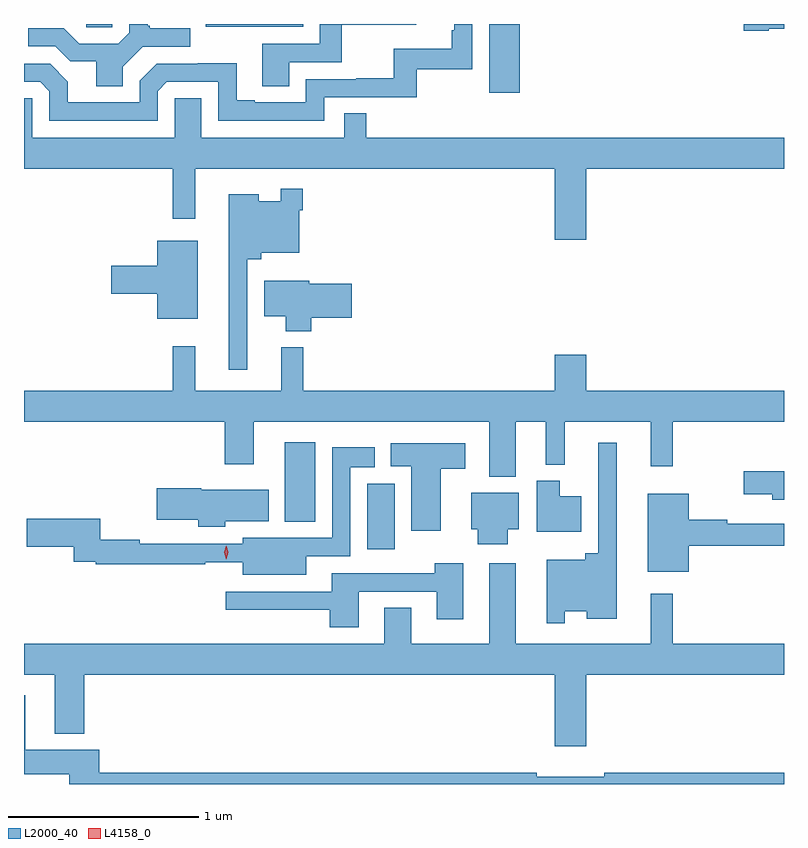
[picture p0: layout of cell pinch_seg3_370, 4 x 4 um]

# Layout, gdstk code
import gdstk
lib = gdstk.Library(unit=1e-6, precision=1e-09)
def R(c, l, rs):  # rectangles x0, y0, x1, y1
    for r in rs: c.add(gdstk.rectangle(r[:2], r[2:], *l))
def P(c, l, *ps):  # polygons
    for p in ps: c.add(gdstk.Polygon(p, *l))
L2000_40 = (2000, 40)
L4158_0 = (4158, 0)

pinch_seg3_370 = lib.new_cell('pinch_seg3_370')
R(pinch_seg3_370, L2000_40, [(1015.169,698.913,1015.312,699.259), (1014.734,699.059,1014.895,699.478), (1015.811,701.316,1015.972,701.678), (1013.689,701.661,1013.826,701.678), (1014.318,701.664,1014.833,701.678)])
P(pinch_seg3_370, L2000_40, [(1014.757,701.478),(1015.034,701.478),(1015.034,701.674),(1015.427,701.674),(1015.427,701.678),(1014.918,701.678),(1014.918,701.574),(1014.617,701.574),(1014.617,701.35),(1014.757,701.35)],
  [(1014.066,701.325),(1014.114,701.373),(1014.384,701.373),(1014.384,701.169),(1014.942,701.169),(1014.942,701.292),(1015.429,701.292),(1015.429,701.439),(1015.722,701.439),(1015.722,701.678),(1015.626,701.678),(1015.626,701.644),(1015.613,701.644),(1015.613,701.548),(1015.308,701.548),(1015.308,701.393),(1015.111,701.393),(1015.111,701.388),(1014.846,701.388),(1014.846,701.265),(1014.577,701.265),(1014.577,701.278),(1014.481,701.278),(1014.481,701.471),(1014.276,701.471),(1014.276,701.469),(1014.06,701.469),(1013.97,701.379),(1013.97,701.265),(1013.593,701.265),(1013.593,701.375),(1013.499,701.469),(1013.362,701.469),(1013.362,701.373),(1013.448,701.373),(1013.496,701.325),(1013.496,701.169),(1014.066,701.169)],
  [(1017.282,701.654),(1017.362,701.654),(1017.362,701.678),(1017.15,701.678),(1017.15,701.642),(1017.282,701.642)],
  [(1013.881,701.452),(1013.988,701.559),(1014.238,701.559),(1014.238,701.656),(1014.025,701.656),(1014.025,701.668),(1014.013,701.668),(1014.013,701.678),(1013.916,701.678),(1013.916,701.631),(1013.859,701.574),(1013.653,701.574),(1013.572,701.655),(1013.385,701.655),(1013.385,701.562),(1013.526,701.562),(1013.606,701.482),(1013.741,701.482),(1013.741,701.35),(1013.881,701.35)],
  [(1016.32,700.916),(1017.362,700.916),(1017.362,701.08),(1015.163,701.08),(1015.163,701.207),(1015.047,701.207),(1015.047,701.08),(1014.295,701.08),(1014.295,701.288),(1014.156,701.288),(1014.156,701.08),(1013.406,701.08),(1013.406,701.288),(1013.362,701.288),(1013.362,700.916),(1014.145,700.916),(1014.145,700.653),(1014.262,700.653),(1014.262,700.916),(1016.156,700.916),(1016.156,700.542),(1016.32,700.542)],
  [(1014.537,700.439),(1014.611,700.439),(1014.611,700.475),(1014.81,700.475),(1014.81,700.697),(1014.83,700.697),(1014.83,700.81),(1014.714,700.81),(1014.714,700.744),(1014.598,700.744),(1014.598,700.783),(1014.44,700.783),(1014.44,699.858),(1014.537,699.858)],
  [(1014.277,700.537),(1014.062,700.537),(1014.062,700.406),(1013.82,700.406),(1013.82,700.259),(1014.062,700.259),(1014.062,700.127),(1014.277,700.127)],
  [(1014.875,700.132),(1015.087,700.132),(1015.087,700.31),(1014.862,700.31),(1014.862,700.327),(1014.626,700.327),(1014.626,700.139),(1014.74,700.139),(1014.74,700.061),(1014.875,700.061)],
  [(1015.951,699.584),(1016.108,699.584),(1016.108,699.359),(1016.207,699.359),(1016.207,699.584),(1016.66,699.584),(1016.66,699.351),(1016.777,699.351),(1016.777,699.584),(1017.362,699.584),(1017.362,699.748),(1016.32,699.748),(1016.32,699.937),(1016.156,699.937),(1016.156,699.748),(1014.833,699.748),(1014.833,699.976),(1014.716,699.976),(1014.716,699.748),(1014.263,699.748),(1014.263,699.982),(1014.145,699.982),(1014.145,699.748),(1013.362,699.748),(1013.362,699.584),(1014.419,699.584),(1014.419,699.36),(1014.571,699.36),(1014.571,699.584),(1015.811,699.584),(1015.811,699.296),(1015.951,699.296)],
  [(1016.208,698.588),(1016.324,698.588),(1016.324,698.549),(1016.482,698.549),(1016.482,699.475),(1016.385,699.475),(1016.385,698.893),(1016.317,698.893),(1016.317,698.857),(1016.112,698.857),(1016.112,698.523),(1016.208,698.523)],
  [(1015.555,699.338),(1015.684,699.338),(1015.684,699.472),(1015.292,699.472),(1015.292,699.35),(1015.4,699.35),(1015.4,699.012),(1015.555,699.012)],
  [(1014.847,698.877),(1015.08,698.877),(1015.08,699.344),(1015.207,699.344),(1015.207,699.451),(1014.984,699.451),(1014.984,698.973),(1014.738,698.973),(1014.738,698.974),(1014.512,698.974),(1014.512,698.943),(1013.972,698.943),(1013.972,698.963),(1013.764,698.963),(1013.764,699.074),(1013.376,699.074),(1013.376,698.927),(1013.624,698.927),(1013.624,698.847),(1013.74,698.847),(1013.74,698.835),(1014.316,698.835),(1014.316,698.846),(1014.512,698.846),(1014.512,698.78),(1014.847,698.78)],
  [(1017.362,699.325),(1017.15,699.325),(1017.15,699.203),(1017.299,699.203),(1017.299,699.174),(1017.362,699.174)],
  [(1016.296,699.193),(1016.182,699.193),(1016.182,699.274),(1016.06,699.274),(1016.06,699.005),(1016.296,699.005)],
  [(1014.42,699.062),(1014.649,699.062),(1014.649,699.226),(1014.294,699.226),(1014.294,699.234),(1014.06,699.234),(1014.06,699.068),(1014.278,699.068),(1014.278,699.032),(1014.42,699.032)],
  [(1015.909,699.02),(1015.966,699.02),(1015.966,699.211),(1015.715,699.211),(1015.715,699.02),(1015.751,699.02),(1015.751,698.939),(1015.909,698.939)],
  [(1016.86,698.932),(1017.362,698.932),(1017.362,699.048),(1017.062,699.048),(1017.062,699.068),(1016.86,699.068),(1016.86,699.205),(1016.645,699.205),(1016.645,698.795),(1016.86,698.795)],
  [(1015.123,698.691),(1015.535,698.691),(1015.535,698.544),(1015.675,698.544),(1015.675,698.839),(1015.523,698.839),(1015.523,698.787),(1014.983,698.787),(1014.983,698.691),(1014.423,698.691),(1014.423,698.594),(1014.971,698.594),(1014.971,698.502),(1015.123,698.502)],
  [(1016.32,698.252),(1017.362,698.252),(1017.362,698.416),(1016.777,698.416),(1016.777,698.68),(1016.66,698.68),(1016.66,698.416),(1015.951,698.416),(1015.951,698.839),(1015.811,698.839),(1015.811,698.416),(1015.399,698.416),(1015.399,698.606),(1015.259,698.606),(1015.259,698.416),(1013.362,698.416),(1013.362,698.252),(1013.525,698.252),(1013.525,697.943),(1013.678,697.943),(1013.678,698.252),(1016.156,698.252),(1016.156,697.878),(1016.32,697.878)],
  [(1017.362,697.736),(1016.416,697.736),(1016.416,697.717),(1016.06,697.717),(1016.06,697.736),(1013.759,697.736),(1013.759,697.858),(1013.368,697.858),(1013.368,698.146),(1013.362,698.146),(1013.362,697.73),(1013.6,697.73),(1013.6,697.678),(1017.362,697.678)])
P(pinch_seg3_370, L4158_0, [(1014.426,698.861),(1014.426,698.861),(1014.416,698.897),(1014.426,698.933),(1014.426,698.933),(1014.427,698.933),(1014.436,698.897),(1014.427,698.861)])

lib.write_gds('pinch_seg3_370.gds')
